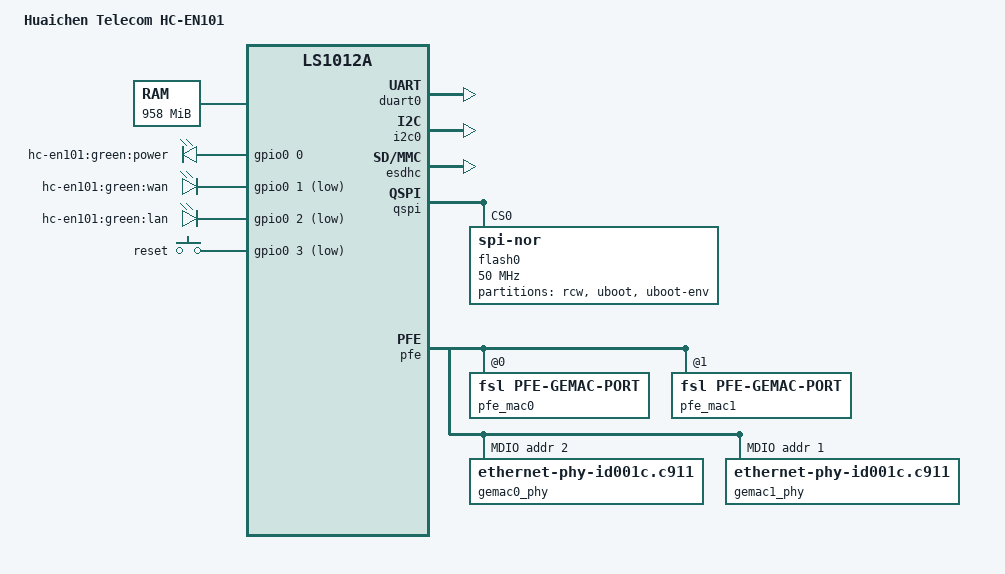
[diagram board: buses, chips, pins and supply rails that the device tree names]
// SPDX-License-Identifier: (GPL-2.0+ OR MIT)
/*
 * Device Tree file for Huaichen Telecom HC-EN101 (TE1104H0)
 * Based on NXP LS1012A SoC
 *
 * Boot flow (from U-Boot printenv):
 *   QSPI NOR: RCW(64KB@0x0) + U-Boot(640KB@0x100000)
 *   eMMC:     p1(ext4,fitImage) + p2(squashfs,rootfs)
 *   U-Boot:  ext4load mmc 0:1 fitImage -> bootm
 *
 * Hardware info from serial console (verified):
 *   - RAM: ~990MB (0x3BE00000) @ 0x80000000
 *   - 2x PFE Ethernet with RealTek RTL8211F PHY (RGMII)
 *     MDIO addr 1 -> pfe_eth1, MDIO addr 2 -> pfe_eth0
 *   - eMMC: DG400 7.3GiB (boot device for kernel+rootfs)
 *   - QSPI NOR: Macronix MX25U12835F 16MB (only RCW + U-Boot)
 */

/dts-v1/;

#include "fsl-ls1012a.dtsi"

/ {
	model = "Huaichen Telecom HC-EN101";
	compatible = "hctele,hc-en101", "fsl,ls1012a";

	aliases {
		ethernet0 = &pfe_mac0;
		ethernet1 = &pfe_mac1;
		mmc0 = &esdhc;
	};

	chosen {
		stdout-path = &duart0;
		bootargs = "console=ttyS0,115200 root=/dev/mmcblk0p2 rootfstype=squashfs rootwait earlycon=uart8250,mmio,0x21c0500";
	};

	memory@80000000 {
		device_type = "memory";
		/* 990MB DDR - from bdinfo: size = 0x3BE00000 */
		reg = <0x0 0x80000000 0x0 0x3BE00000>;
	};

	leds {
		compatible = "gpio-leds";

		/*
		 * TODO: Verify GPIO numbers from schematic or
		 * U-Boot: 'gpio status' or 'gpio input'
		 */
		led-power {
			label = "hc-en101:green:power";
			gpios = <&gpio0 0 GPIO_ACTIVE_HIGH>;
			default-state = "on";
		};

		led-wan {
			label = "hc-en101:green:wan";
			gpios = <&gpio0 1 GPIO_ACTIVE_LOW>;
		};

		led-lan {
			label = "hc-en101:green:lan";
			gpios = <&gpio0 2 GPIO_ACTIVE_LOW>;
		};
	};

	gpio-keys-polled {
		compatible = "gpio-keys-polled";
		poll-interval = <20>;

		/*
		 * TODO: Verify reset button GPIO.
		 * Check U-Boot: 'gpio input' or schematic.
		 */
		reset {
			label = "reset";
			gpios = <&gpio0 3 GPIO_ACTIVE_LOW>;
			linux,code = <KEY_RESTART>;
		};
	};
};

&duart0 {
	status = "okay";
};

&i2c0 {
	status = "okay";
};

/*
 * eMMC - Primary boot storage for kernel + rootfs
 * U-Boot: ext4load mmc 0:1 0xa0000000 fitImage
 * Kernel: root=/dev/mmcblk0p2 rootfstype=squashfs
 */
&esdhc {
	status = "okay";
};

/*
 * QSPI NOR Flash - Only stores bootloader (RCW + U-Boot)
 * NOT used for kernel/rootfs (those are on eMMC)
 *
 * Verified with 'sf probe 0:0':
 *   Macronix MX25U12835F, 16MB total, 256B page, 64KB erase
 */
&qspi {
	status = "okay";

	flash0: flash@0 {
		compatible = "jedec,spi-nor";
		reg = <0>;
		spi-max-frequency = <50000000>;
		m25p,fast-read;

		partitions {
			compatible = "fixed-partitions";
			#address-cells = <1>;
			#size-cells = <1>;

			/* RCW/PBL - Reset Configuration Word */
			partition@0 {
				label = "rcw";
				reg = <0x00000000 0x00010000>; /* 64KB */
				read-only;
			};

			/* U-Boot bootloader */
			partition@100000 {
				label = "uboot";
				reg = <0x00100000 0x000a0000>; /* 640KB */
				read-only;
			};

			/* U-Boot environment */
			partition@1a0000 {
				label = "uboot-env";
				reg = <0x001a0000 0x00060000>; /* 384KB */
			};
		};
	};
};

/*
 * PFE (Packet Forwarding Engine) - Two Ethernet MACs
 *
 * Verified from U-Boot serial console:
 *   mdio list:
 *     1 - RealTek RTL8211F <--> pfe_eth1
 *     2 - RealTek RTL8211F <--> pfe_eth0
 *   mii info: OUI=0x0732 Model=0x11 (RTL8211F)
 *
 * RTL8211F is an RGMII Gigabit PHY, NOT SGMII.
 * phy-mode must be "rgmii-id" (RGMII with internal delay).
 *
 * PHY address mapping:
 *   pfe_eth0 -> MDIO addr 2 (gemac0_phy)
 *   pfe_eth1 -> MDIO addr 1 (gemac1_phy)
 */
&pfe {
	status = "okay";
	#address-cells = <1>;
	#size-cells = <0>;

	pfe_mac0: ethernet@0 {
		compatible = "fsl,pfe-gemac-port";
		#address-cells = <1>;
		#size-cells = <0>;
		reg = <0x0>;
		phy-handle = <&gemac0_phy>;
		phy-mode = "rgmii-id";
	};

	pfe_mac1: ethernet@1 {
		compatible = "fsl,pfe-gemac-port";
		#address-cells = <1>;
		#size-cells = <0>;
		reg = <0x1>;
		phy-handle = <&gemac1_phy>;
		phy-mode = "rgmii-id";
	};

	mdio@0 {
		#address-cells = <1>;
		#size-cells = <0>;

		/* pfe_eth0 uses MDIO addr 2 */
		gemac0_phy: ethernet-phy@2 {
			reg = <0x2>;
			compatible = "ethernet-phy-id001c.c911";
		};

		/* pfe_eth1 uses MDIO addr 1 */
		gemac1_phy: ethernet-phy@1 {
			reg = <0x1>;
			compatible = "ethernet-phy-id001c.c911";
		};
	};
};
